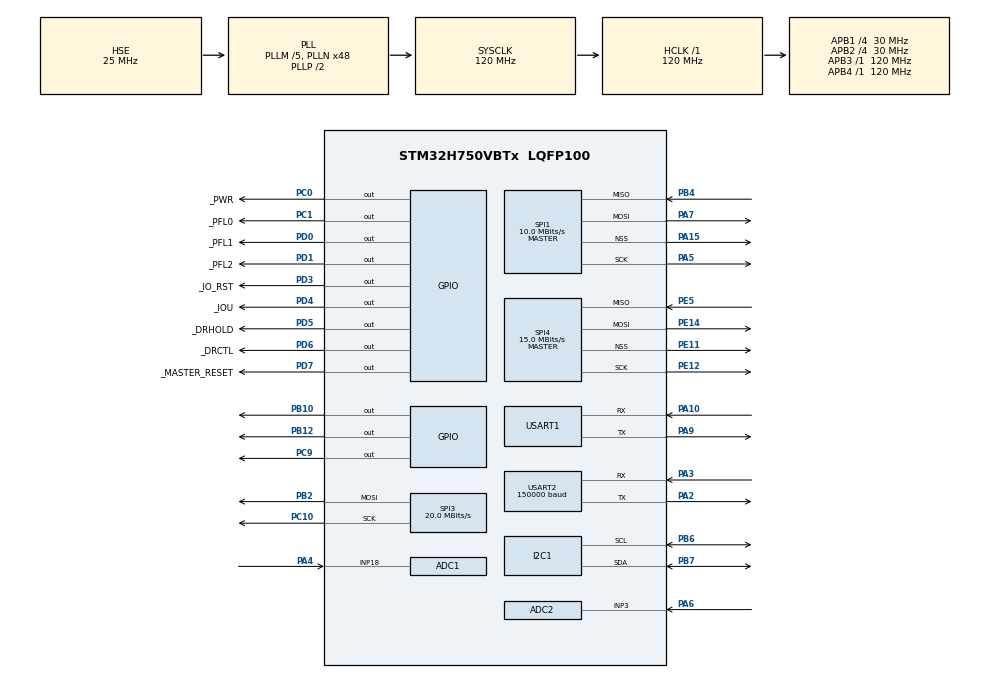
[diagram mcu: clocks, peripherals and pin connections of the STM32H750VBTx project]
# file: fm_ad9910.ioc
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ADC1.Channel-2\#ChannelRegularConversion=ADC_CHANNEL_18
ADC1.ClockPrescaler=ADC_CLOCK_ASYNC_DIV1
ADC1.ConversionDataManagement=ADC_CONVERSIONDATA_DMA_ONESHOT
ADC1.ExternalTrigConv=ADC_EXTERNALTRIG_T6_TRGO
ADC1.NbrOfConversionFlag=1
ADC1.OffsetNumber-2\#ChannelRegularConversion=ADC_OFFSET_NONE
ADC1.OffsetSignedSaturation-2\#ChannelRegularConversion=DISABLE
ADC1.Rank-2\#ChannelRegularConversion=1
ADC1.SamplingTime-2\#ChannelRegularConversion=ADC_SAMPLETIME_1CYCLE_5
ADC1.master=1
ADC2.Channel-1\#ChannelRegularConversion=ADC_CHANNEL_3
ADC2.ContinuousConvMode=DISABLE
ADC2.NbrOfConversionFlag=1
ADC2.OffsetNumber-1\#ChannelRegularConversion=ADC_OFFSET_NONE
ADC2.OffsetSignedSaturation-1\#ChannelRegularConversion=DISABLE
ADC2.Rank-1\#ChannelRegularConversion=1
ADC2.SamplingTime-1\#ChannelRegularConversion=ADC_SAMPLETIME_1CYCLE_5
Dma.ADC1.0.Direction=DMA_PERIPH_TO_MEMORY
Dma.ADC1.0.EventEnable=DISABLE
Dma.ADC1.0.FIFOMode=DMA_FIFOMODE_DISABLE
Dma.ADC1.0.Instance=DMA1_Stream0
Dma.ADC1.0.MemDataAlignment=DMA_MDATAALIGN_HALFWORD
Dma.ADC1.0.MemInc=DMA_MINC_ENABLE
Dma.ADC1.0.Mode=DMA_NORMAL
Dma.ADC1.0.PeriphDataAlignment=DMA_PDATAALIGN_HALFWORD
Dma.ADC1.0.PeriphInc=DMA_PINC_DISABLE
Dma.ADC1.0.Polarity=HAL_DMAMUX_REQ_GEN_RISING
Dma.ADC1.0.Priority=DMA_PRIORITY_LOW
Dma.ADC1.0.RequestNumber=1
Dma.ADC1.0.SignalID=NONE
Dma.ADC1.0.SyncEnable=DISABLE
Dma.ADC1.0.SyncPolarity=HAL_DMAMUX_SYNC_NO_EVENT
Dma.ADC1.0.SyncRequestNumber=1
Dma.ADC1.0.SyncSignalID=NONE
Dma.Request0=ADC1
I2C1.Timing=0x007074AF
Mcu.Family=STM32H7
Mcu.Name=STM32H750VBTx
Mcu.Package=LQFP100
NVIC.DMA1_Stream0_IRQn=true\:0\:0\:false\:false\:true\:false\:true\:true
NVIC.PriorityGroup=NVIC_PRIORITYGROUP_4
NVIC.USART2_IRQn=true\:0\:0\:false\:false\:true\:true\:true\:true
PA10.Mode=Asynchronous
PA10.Signal=USART1_RX
PA13\ (JTMS/SWDIO).Mode=Serial_Wire
PA13\ (JTMS/SWDIO).Signal=DEBUG_JTMS-SWDIO
PA14\ (JTCK/SWCLK).Mode=Serial_Wire
PA14\ (JTCK/SWCLK).Signal=DEBUG_JTCK-SWCLK
PA15\ (JTDI).Mode=NSS_Signal_Hard_Output
PA15\ (JTDI).Signal=SPI1_NSS
PA2.Mode=Asynchronous
PA2.Signal=USART2_TX
PA3.Mode=Asynchronous
PA3.Signal=USART2_RX
PA4.Signal=ADCx_INP18
PA5.GPIO_Speed=GPIO_SPEED_FREQ_LOW
PA5.Mode=Full_Duplex_Master
PA5.Signal=SPI1_SCK
PA6.Signal=ADCx_INP3
PA7.GPIO_Speed=GPIO_SPEED_FREQ_LOW
PA7.Mode=Full_Duplex_Master
PA7.Signal=SPI1_MOSI
PA9.Mode=Asynchronous
PA9.Signal=USART1_TX
PB10.GPIO_ModeDefaultOutputPP=GPIO_MODE_OUTPUT_OD
PB10.GPIO_PuPd=GPIO_PULLUP
PB10.Signal=GPIO_Output
PB12.GPIO_ModeDefaultOutputPP=GPIO_MODE_OUTPUT_OD
PB12.GPIO_PuPd=GPIO_PULLUP
PB12.Signal=GPIO_Output
PB2.Mode=TX_Only_Simplex_Unidirect_Master
PB2.Signal=SPI3_MOSI
PB4\ (NJTRST).Mode=Full_Duplex_Master
PB4\ (NJTRST).Signal=SPI1_MISO
PB6.GPIO_Pu=GPIO_PULLUP
PB6.Mode=I2C
PB6.Signal=I2C1_SCL
PB7.GPIO_Pu=GPIO_PULLUP
PB7.Mode=I2C
PB7.Signal=I2C1_SDA
PC0.GPIO_Label=_PWR
PC0.GPIO_Speed=GPIO_SPEED_FREQ_LOW
PC0.Signal=GPIO_Output
PC1.GPIO_Label=_PFL0
PC1.GPIO_Speed=GPIO_SPEED_FREQ_LOW
PC1.Signal=GPIO_Output
PC10.Mode=TX_Only_Simplex_Unidirect_Master
PC10.Signal=SPI3_SCK
PC9.GPIO_ModeDefaultOutputPP=GPIO_MODE_OUTPUT_PP
PC9.GPIO_PuPd=GPIO_NOPULL
PC9.Signal=GPIO_Output
PD0.GPIO_Label=_PFL1
PD0.GPIO_Speed=GPIO_SPEED_FREQ_LOW
PD0.Signal=GPIO_Output
PD1.GPIO_Label=_PFL2
PD1.GPIO_Speed=GPIO_SPEED_FREQ_LOW
PD1.Signal=GPIO_Output
PD3.GPIO_Label=_IO_RST
PD3.GPIO_Speed=GPIO_SPEED_FREQ_LOW
PD3.Signal=GPIO_Output
PD4.GPIO_Label=_IOU
PD4.GPIO_Speed=GPIO_SPEED_FREQ_LOW
PD4.Signal=GPIO_Output
PD5.GPIO_Label=_DRHOLD
PD5.Signal=GPIO_Output
PD6.GPIO_Label=_DRCTL
PD6.Signal=GPIO_Output
PD7.GPIO_Label=_MASTER_RESET
PD7.Signal=GPIO_Output
PE11.Mode=NSS_Signal_Hard_Output
PE11.Signal=SPI4_NSS
PE12.Mode=Full_Duplex_Master
PE12.Signal=SPI4_SCK
PE14.Mode=Full_Duplex_Master
PE14.Signal=SPI4_MOSI
PE5.Mode=Full_Duplex_Master
PE5.Signal=SPI4_MISO
PH0-OSC_IN\ (PH0).Mode=HSE-External-Oscillator
PH0-OSC_IN\ (PH0).Signal=RCC_OSC_IN
PH1-OSC_OUT\ (PH1).Mode=HSE-External-Oscillator
PH1-OSC_OUT\ (PH1).Signal=RCC_OSC_OUT
ProjectManager.HeapSize=0x200
ProjectManager.StackSize=0x400
ProjectManager.TargetToolchain=Makefile
RCC.ADCFreq_Value=37500000
RCC.APB1Freq_Value=30000000
RCC.APB2Freq_Value=30000000
RCC.APB3Freq_Value=120000000
RCC.APB4Freq_Value=120000000
RCC.CortexFreq_Value=120000000
RCC.D2PPRE1=RCC_APB1_DIV4
RCC.D2PPRE2=RCC_APB2_DIV4
RCC.DIVM1=5
RCC.DIVM2=2
RCC.DIVN1=48
RCC.DIVN2=12
RCC.DIVP2=4
RCC.DIVQ1=3
RCC.HCLKFreq_Value=120000000
RCC.PLL2FRACN=0
RCC.PLL3FRACN=0
RCC.PLLFRACN=0
RCC.PLLSourceVirtual=RCC_PLLSOURCE_HSE
RCC.SYSCLKFreq_VALUE=120000000
RCC.SYSCLKSource=RCC_SYSCLKSOURCE_PLLCLK
RCC.USBFreq_Value=80000000
SH.ADCx_INP18.0=ADC1_INP18,IN18-Single-Ended
SH.ADCx_INP3.0=ADC2_INP3,IN3-Single-Ended
SPI1.BaudRatePrescaler=SPI_BAUDRATEPRESCALER_8
SPI1.CLKPhase=SPI_PHASE_2EDGE
SPI1.CLKPolarity=SPI_POLARITY_HIGH
SPI1.CalculateBaudRate=10.0 MBits/s
SPI1.DataSize=SPI_DATASIZE_32BIT
SPI1.Direction=SPI_DIRECTION_2LINES
SPI1.Mode=SPI_MODE_MASTER
SPI1.NSSPMode=SPI_NSS_PULSE_DISABLE
SPI1.VirtualNSS=VM_NSSHARD
SPI1.VirtualType=VM_MASTER
SPI3.BaudRatePrescaler=SPI_BAUDRATEPRESCALER_4
SPI3.CLKPhase=SPI_PHASE_2EDGE
SPI3.CLKPolarity=SPI_POLARITY_HIGH
SPI3.CalculateBaudRate=20.0 MBits/s
SPI3.DataSize=SPI_DATASIZE_8BIT
SPI3.Direction=SPI_DIRECTION_2LINES_TXONLY
SPI3.Mode=SPI_MODE_MASTER
SPI3.VirtualType=VM_MASTER
SPI4.CalculateBaudRate=15.0 MBits/s
SPI4.DataSize=SPI_DATASIZE_8BIT
SPI4.Direction=SPI_DIRECTION_2LINES
SPI4.FifoThreshold=SPI_FIFO_THRESHOLD_02DATA
SPI4.Mode=SPI_MODE_MASTER
SPI4.VirtualNSS=VM_NSSHARD
SPI4.VirtualType=VM_MASTER
TIM6.Period=60-1
TIM6.TIM_MasterOutputTrigger=TIM_TRGO_UPDATE
USART1.VirtualMode-Asynchronous=VM_ASYNC
USART2.BaudRate=150000
USART2.VirtualMode-Asynchronous=VM_ASYNC
VP_TIM6_VS_ClockSourceINT.Mode=Enable_Timer
board=custom

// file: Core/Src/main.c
/* USER CODE BEGIN Header */
/**
  ******************************************************************************
  * @file           : main.c
  * @brief          : Main program body
  ******************************************************************************
  * @attention
  *
  * Copyright (c) 2024 STMicroelectronics.
  * All rights reserved.
  *
  * This software is licensed under terms that can be found in the LICENSE file
  * in the root directory of this software component.
  * If no LICENSE file comes with this software, it is provided AS-IS.
  *
  ******************************************************************************
  */
/* USER CODE END Header */
#include "main.h"
#include "ad9910.h"
#include "adc.h"
#include "dma.h"
#include "i2c.h"
#include "spi.h"
#include "tim.h"
#include "usart.h"
#include "gpio.h"

/* USER CODE BEGIN PTD */
#include "test.h"
#include "lcd_spi_169.h"
#include <math.h>
#include <stdint.h>
/* USER CODE END PTD */

void SystemClock_Config(void);
void PeriphCommonClock_Config(void);

/* USER CODE BEGIN 0 */

// usart1-----烧录
// usart2-----用来与上位机调试
#define  NUM_OF_DATA 2
uint64_t rx_data[NUM_OF_DATA] = {}; //串口接收数组
uint32_t tx_data[1] = {0};
uint32_t count = 0;
uint8_t buffer_index = 0; //串口接收下标
uint8_t rxBuffer[16];  // 假设串口每次接收16字节数据
amfmStruct data ={0};
/* USER CODE END 0 */

int main(void)
{

  /* MCU Configuration--------------------------------------------------------*/

  /* Reset of all peripherals, Initializes the Flash interface and the Systick. */
  HAL_Init();

  /* Configure the system clock */
  SystemClock_Config();

/* Configure the peripherals common clocks */
  PeriphCommonClock_Config();

  /* Initialize all configured peripherals */
  MX_GPIO_Init();
  MX_DMA_Init();
  MX_ADC1_Init();
  MX_USART2_UART_Init();
  MX_USART1_UART_Init();
  MX_I2C1_Init();
  MX_SPI1_Init();
  MX_SPI4_Init();
  MX_TIM6_Init();
  MX_ADC2_Init();
  MX_SPI3_Init();
  /* USER CODE BEGIN 2 */
  AD9910_init();
  SPI_LCD_Init();
  HAL_UART_Receive_IT(&huart2, (uint8_t *)rxBuffer, 1);
  /* USER CODE END 2 */

  /* Infinite loop */
  /* USER CODE BEGIN WHILE */
  while (1)
  {
    if (count==1) {
      get_parameter(rxBuffer, rx_data, &data);

      count=0;
    }

    // LCD_DisplayNumber(10, 10, rx_data[0], 15);
    // LCD_DisplayNumber(10, 40, data.type, 5);
    // LCD_DisplayNumber(10, 60, data.phase_dev, 10);
    // LCD_DisplayNumber(10, 90, data.Rb, 3);
    switch (data.type) {
      case 1:
            LCD_DisplayString(10, 10, "AM");
            LCD_DisplayString(10, 40, "Freq:");LCD_DisplayNumber(80, 40, data.am.freq, 5);
            LCD_DisplayString(10, 70, "ma:");
            LCD_DisplayNumber(80,70,(data.am.ma * 100)/100,1);LCD_DisplayString(100, 70,".");LCD_DisplayNumber(115,70,(int)(data.am.ma * 100)%100,3);
        break;
      case 2:
            LCD_DisplayString(10, 10, "FM");
            LCD_DisplayString(10, 40, "Freq:");LCD_DisplayNumber(80, 40, data.fm.freq, 5);
            LCD_DisplayString(10, 70, "mf:");
            LCD_DisplayNumber(80, 70, (data.fm.mf*100)/100, 1);LCD_DisplayString(100, 70,".");LCD_DisplayNumber(115,70,(int)(data.fm.mf * 100)%100,3);
            LCD_DisplayString(10, 100, "diff:");LCD_DisplayNumber(80, 100, data.fm.diff_fmax, 5);
        break;
      case 5:
            LCD_DisplayString(10, 10, "ASK");
            LCD_DisplayString(10, 40, "Rc:");LCD_DisplayNumber(80, 40, data.ask.Rc, 5);
        break;
      case 6:
            LCD_DisplayString(10, 10, "FSK");
            LCD_DisplayString(10, 40, "Rc:");LCD_DisplayNumber(80, 40, data.fsk.Rc, 5);
            LCD_DisplayString(10, 70, "h:");
            LCD_DisplayNumber(80, 70, (data.fsk.h*100)/100, 2);LCD_DisplayString(110, 70,".");LCD_DisplayNumber(130,70,(int)(data.fsk.h * 100)%100,2);
        break;
      case 7:
            LCD_DisplayString(10, 10, "PSK");
            LCD_DisplayString(10, 40, "Rc:");LCD_DisplayNumber(60, 40, data.psk.Rc, 5);
        break;
    }

    /* USER CODE END WHILE */

  }
}

void SystemClock_Config(void)
{
  RCC_OscInitTypeDef RCC_OscInitStruct = {0};
  RCC_ClkInitTypeDef RCC_ClkInitStruct = {0};

  /** Supply configuration update enable
  */
  HAL_PWREx_ConfigSupply(PWR_LDO_SUPPLY);

  /** Configure the main internal regulator output voltage
  */
  __HAL_PWR_VOLTAGESCALING_CONFIG(PWR_REGULATOR_VOLTAGE_SCALE3);

  while(!__HAL_PWR_GET_FLAG(PWR_FLAG_VOSRDY)) {}

  /** Initializes the RCC Oscillators according to the specified parameters
  * in the RCC_OscInitTypeDef structure.
  */
  RCC_OscInitStruct.OscillatorType = RCC_OSCILLATORTYPE_HSE;
  RCC_OscInitStruct.HSEState = RCC_HSE_ON;
  RCC_OscInitStruct.PLL.PLLState = RCC_PLL_ON;
  RCC_OscInitStruct.PLL.PLLSource = RCC_PLLSOURCE_HSE;
  RCC_OscInitStruct.PLL.PLLM = 5;
  RCC_OscInitStruct.PLL.PLLN = 48;
  RCC_OscInitStruct.PLL.PLLP = 2;
  RCC_OscInitStruct.PLL.PLLQ = 3;
  RCC_OscInitStruct.PLL.PLLR = 2;
  RCC_OscInitStruct.PLL.PLLRGE = RCC_PLL1VCIRANGE_2;
  RCC_OscInitStruct.PLL.PLLVCOSEL = RCC_PLL1VCOWIDE;
  RCC_OscInitStruct.PLL.PLLFRACN = 0;
  if (HAL_RCC_OscConfig(&RCC_OscInitStruct) != HAL_OK)
  {
    Error_Handler();
  }

  /** Initializes the CPU, AHB and APB buses clocks
  */
  RCC_ClkInitStruct.ClockType = RCC_CLOCKTYPE_HCLK|RCC_CLOCKTYPE_SYSCLK
                              |RCC_CLOCKTYPE_PCLK1|RCC_CLOCKTYPE_PCLK2
                              |RCC_CLOCKTYPE_D3PCLK1|RCC_CLOCKTYPE_D1PCLK1;
  RCC_ClkInitStruct.SYSCLKSource = RCC_SYSCLKSOURCE_PLLCLK;
  RCC_ClkInitStruct.SYSCLKDivider = RCC_SYSCLK_DIV1;
  RCC_ClkInitStruct.AHBCLKDivider = RCC_HCLK_DIV1;
  RCC_ClkInitStruct.APB3CLKDivider = RCC_APB3_DIV1;
  RCC_ClkInitStruct.APB1CLKDivider = RCC_APB1_DIV4;
  RCC_ClkInitStruct.APB2CLKDivider = RCC_APB2_DIV4;
  RCC_ClkInitStruct.APB4CLKDivider = RCC_APB4_DIV1;

  if (HAL_RCC_ClockConfig(&RCC_ClkInitStruct, FLASH_LATENCY_2) != HAL_OK)
  {
    Error_Handler();
  }
}

void PeriphCommonClock_Config(void)
{
  RCC_PeriphCLKInitTypeDef PeriphClkInitStruct = {0};

  /** Initializes the peripherals clock
  */
  PeriphClkInitStruct.PeriphClockSelection = RCC_PERIPHCLK_ADC;
  PeriphClkInitStruct.PLL2.PLL2M = 2;
  PeriphClkInitStruct.PLL2.PLL2N = 12;
  PeriphClkInitStruct.PLL2.PLL2P = 4;
  PeriphClkInitStruct.PLL2.PLL2Q = 2;
  PeriphClkInitStruct.PLL2.PLL2R = 2;
  PeriphClkInitStruct.PLL2.PLL2RGE = RCC_PLL2VCIRANGE_3;
  PeriphClkInitStruct.PLL2.PLL2VCOSEL = RCC_PLL2VCOMEDIUM;
  PeriphClkInitStruct.PLL2.PLL2FRACN = 0;
  PeriphClkInitStruct.AdcClockSelection = RCC_ADCCLKSOURCE_PLL2;
  if (HAL_RCCEx_PeriphCLKConfig(&PeriphClkInitStruct) != HAL_OK)
  {
    Error_Handler();
  }
}

/* USER CODE BEGIN 4 */
void HAL_UART_RxCpltCallback(UART_HandleTypeDef *huart) {
    if (huart->Instance == USART2) {
    rxBuffer[buffer_index++] = huart->Instance->RDR;
    if (buffer_index == 16)
        {
         buffer_index = 0;
         HAL_UART_Receive_IT(&huart2, rxBuffer, 1);
         count =1;
        }
    else {
      HAL_UART_Receive_IT(&huart2, rxBuffer+buffer_index, 1);
    }

    }

}

/* USER CODE END 4 */

void Error_Handler(void)
{
  __disable_irq();
  while (1)
  {
  }
}
